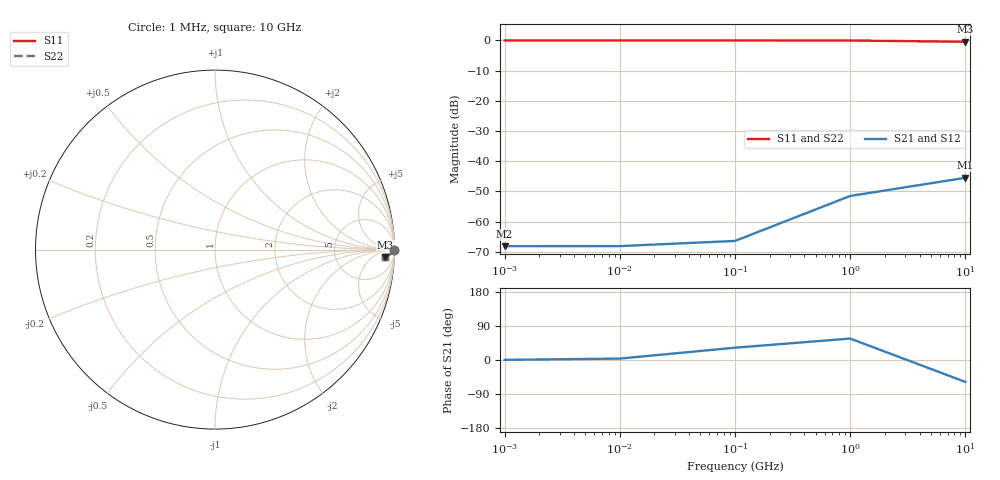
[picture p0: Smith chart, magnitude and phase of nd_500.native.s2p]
! Sonnet Data File
! From: em Version : 18.53-Lite
! From Project: nd_500
! Data is NOT De-embedded
! Data File Written: 10/12/2026 12:47:16
!< HDATE 10/12/2026 12:47:16
!< MDATE 10/12/2026 12:47:16
# GHZ S RI R 50.00000
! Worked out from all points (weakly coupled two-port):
!   5 points, 1 MHz to 10 GHz, reference 50 ohm
!   highest |S21| = -45.47 dB at 10 GHz (marker M1); lowest = -68.1 dB at 1 MHz (marker M2)
!   lowest |S11| = -0.4 dB at 10 GHz (marker M3), VSWR 39.24, Z = 1.15e+03 - j966 ohm
!   |S11| at or under -10 dB: nowhere
!   |S22| runs from -0.4 to 0.0 dB; largest |S21 - S12| = 0
0.001  0.9996 -1.4e-05  0.000393 2.58e-06  0.000393 2.58e-06  0.9996 -1.4e-05
0.01  0.9996 -0.00014  0.000393 2.58e-05  0.000393 2.58e-05  0.9996 -0.00014
0.1  0.9996 -0.0014  0.000405 0.000258  0.000405 0.000258  0.9996 -0.0014
1  0.997 -0.0134  0.00147 0.00222  0.00147 0.00222  0.997 -0.0134
10  0.9494 -0.0407  0.00284 -0.00451  0.00284 -0.00451  0.9494 -0.0407
